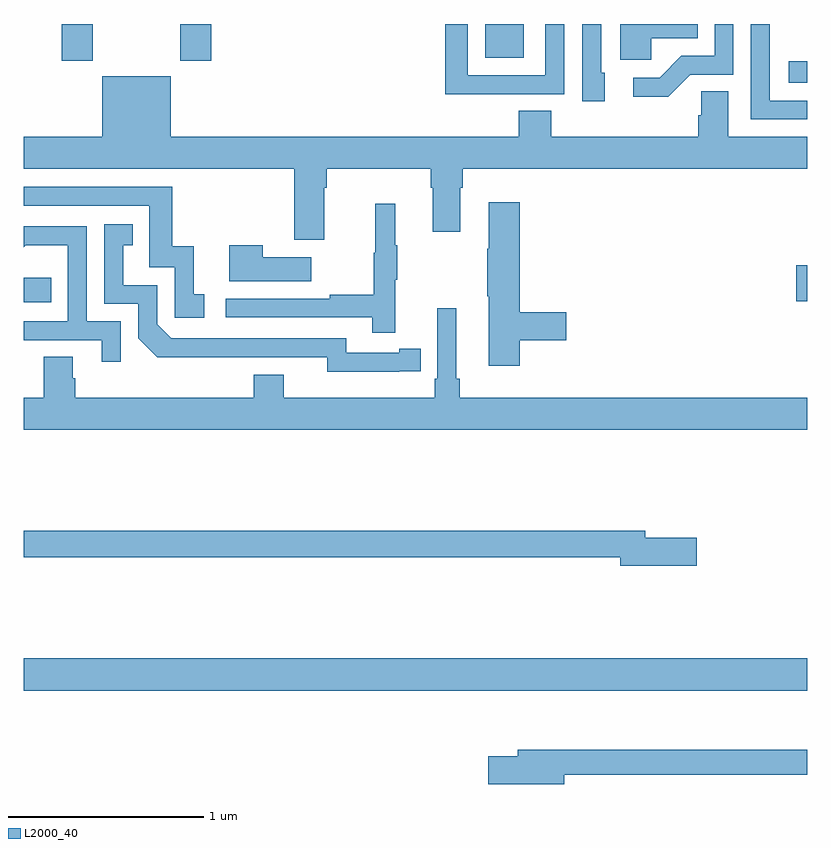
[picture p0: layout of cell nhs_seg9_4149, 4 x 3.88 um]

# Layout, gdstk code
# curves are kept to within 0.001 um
import gdstk
lib = gdstk.Library(unit=1e-6, precision=1e-09)
def R(c, l, rs):  # rectangles x0, y0, x1, y1
    for r in rs: c.add(gdstk.rectangle(r[:2], r[2:], *l))
def P(c, l, *ps):  # polygons
    for p in ps: c.add(gdstk.Polygon(p, *l))
L2000_40 = (2000, 40)

nhs_seg9_4149 = lib.new_cell('nhs_seg9_4149')
R(nhs_seg9_4149, L2000_40, [(349,1187.096,353,1187.26), (349,1189.08,349.139,1189.203), (352.944,1189.085,353,1189.268), (352.905,1190.201,353,1190.311), (349.193,1190.313,349.353,1190.5), (349.798,1190.313,349.958,1190.5), (351.356,1190.327,351.553,1190.5)])
P(nhs_seg9_4149, L2000_40, [(352.404,1190.241),(352.623,1190.241),(352.623,1190.5),(352.527,1190.5),(352.527,1190.337),(352.358,1190.337),(352.247,1190.226),(352.113,1190.226),(352.113,1190.129),(352.291,1190.129)],
  [(352.203,1190.426),(352.442,1190.426),(352.442,1190.5),(352.046,1190.5),(352.046,1190.318),(352.203,1190.318)],
  [(351.443,1190.142),(351.759,1190.142),(351.759,1190.5),(351.663,1190.5),(351.663,1190.238),(351.267,1190.238),(351.267,1190.5),(351.151,1190.5),(351.151,1190.141),(351.443,1190.141)],
  [(351.967,1190.25),(351.948,1190.25),(351.948,1190.5),(351.852,1190.5),(351.852,1190.106),(351.967,1190.106)],
  [(353,1190.109),(352.809,1190.109),(352.809,1190.5),(352.713,1190.5),(352.713,1190.013),(353,1190.013)],
  [(350.533,1189.664),(350.546,1189.664),(350.546,1189.76),(351.077,1189.76),(351.077,1189.664),(351.089,1189.664),(351.089,1189.44),(351.229,1189.44),(351.229,1189.664),(351.242,1189.664),(351.242,1189.76),(353,1189.76),(353,1189.924),(352.597,1189.924),(352.597,1190.156),(352.458,1190.156),(352.458,1190.033),(352.445,1190.033),(352.445,1189.924),(351.692,1189.924),(351.692,1190.057),(351.527,1190.057),(351.527,1189.924),(349.75,1189.924),(349.75,1190.233),(349.4,1190.233),(349.4,1189.924),(349,1189.924),(349,1189.76),(350.381,1189.76),(350.381,1189.398),(350.533,1189.398)],
  [(349.921,1189.119),(349.868,1189.119),(349.868,1189.366),(349.757,1189.366),(349.757,1189.668),(349,1189.668),(349,1189.572),(349.641,1189.572),(349.641,1189.257),(349.77,1189.257),(349.77,1188.999),(349.921,1188.999)],
  [(351.533,1188.886),(351.769,1188.886),(351.769,1189.028),(351.533,1189.028),(351.533,1189.591),(351.374,1189.591),(351.374,1189.352),(351.367,1189.352),(351.367,1189.111),(351.374,1189.111),(351.374,1188.756),(351.533,1188.756)],
  [(350.897,1189.195),(350.908,1189.195),(350.908,1189.369),(350.897,1189.369),(350.897,1189.582),(350.794,1189.582),(350.794,1189.332),(350.787,1189.332),(350.787,1189.118),(350.563,1189.118),(350.563,1189.098),(350.031,1189.098),(350.031,1189.002),(350.779,1189.002),(350.779,1188.924),(350.897,1188.924)],
  [(350.918,1188.726),(351.026,1188.726),(351.026,1188.842),(350.918,1188.842),(350.918,1188.822),(350.646,1188.822),(350.646,1188.894),(349.752,1188.894),(349.68,1188.966),(349.68,1189.167),(349.507,1189.167),(349.507,1189.371),(349.556,1189.371),(349.556,1189.477),(349.41,1189.477),(349.41,1189.071),(349.584,1189.071),(349.584,1188.894),(349.682,1188.797),(350.55,1188.798),(350.55,1188.725)],
  [(349.494,1188.981),(349.32,1188.981),(349.32,1189.467),(349,1189.467),(349,1189.36),(349.01,1189.37),(349.224,1189.37),(349.224,1188.981),(349,1188.981),(349,1188.885),(349.397,1188.885),(349.397,1188.774),(349.494,1188.774)],
  [(350.467,1189.309),(350.219,1189.309),(350.219,1189.369),(350.048,1189.369),(350.048,1189.187),(350.467,1189.187)],
  [(353,1188.592),(351.227,1188.592),(351.227,1188.688),(351.208,1188.688),(351.208,1189.048),(351.111,1189.048),(351.111,1188.688),(351.098,1188.688),(351.098,1188.592),(350.326,1188.592),(350.326,1188.709),(350.174,1188.709),(350.174,1188.592),(349.262,1188.592),(349.262,1188.69),(349.249,1188.69),(349.249,1188.8),(349.102,1188.8),(349.102,1188.592),(349,1188.592),(349,1188.428),(353,1188.428)],
  [(352.435,1187.876),(352.174,1187.876),(352.174,1187.912),(349,1187.912),(349,1187.776),(352.046,1187.776),(352.046,1187.734),(352.435,1187.734)],
  [(351.76,1186.666),(353,1186.666),(353,1186.795),(351.521,1186.795),(351.521,1186.761),(351.372,1186.761),(351.372,1186.619),(351.76,1186.619)])

lib.write_gds('nhs_seg9_4149.gds')
